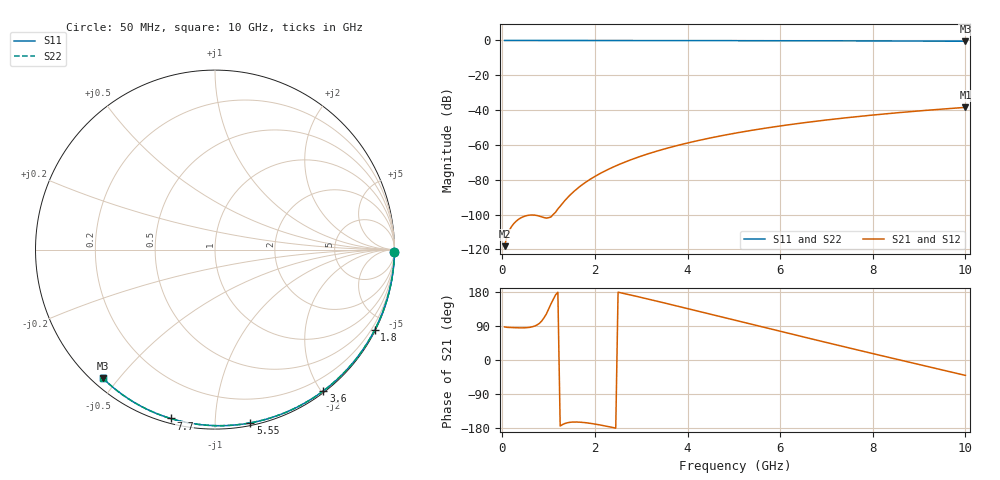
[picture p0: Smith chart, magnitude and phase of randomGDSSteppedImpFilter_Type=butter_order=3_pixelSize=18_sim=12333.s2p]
! freq	dB(S11)	phase(S11)	dB(S12)	phase(S12)
!  dB(S21)	phase(S21)	dB(S22)	phase(S22)
!S-par simulation data
#  GHz  S  DB  R 50
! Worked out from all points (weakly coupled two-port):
!   200 points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, 50 MHz to 10 GHz, reference 50 ohm
!   highest |S21| = -38.46 dB at 10 GHz (marker M1); lowest = -118.2 dB at 50 MHz (marker M2)
!   lowest |S11| = -0.4 dB at 10 GHz (marker M3), VSWR 39.18, Z = 1.54 - j22.7 ohm
!   |S11| at or under -10 dB: nowhere
!   |S22| runs from -0.4 to 0.0 dB; largest |S21 - S12| = 0
!   S11 on the Smith chart (normalised r, x): 50 MHz: open; 1.8 GHz: 0.04, -4.19; 3.6 GHz: 0.02, -2.03; 5.55 GHz: 0.02, -1.23; 7.7 GHz: 0.02, -0.77; 10 GHz: 0.03, -0.45
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0.05  -0.00 -0.8  -118.20 87.3  -118.20 87.3  -0.00 -0.8
0.9  -0.02 -13.6  -101.77 111.2  -101.77 111.2  -0.02 -13.6
1.75  -0.03 -26.1  -82.41 -164.8  -82.41 -164.8  -0.03 -26.1
1.8  -0.03 -26.9  -81.47 -165.5  -81.47 -165.5  -0.03 -26.9
1.85  -0.04 -27.6  -80.58 -166.3  -80.58 -166.3  -0.04 -27.6
1.9  -0.04 -28.3  -79.73 -167.1  -79.73 -167.1  -0.04 -28.3
2.05  -0.04 -30.5  -77.35 -170.1  -77.35 -170.1  -0.04 -30.5
2.25  -0.04 -33.4  -74.55 -174.7  -74.55 -174.7  -0.04 -33.4
2.45  -0.05 -36.3  -72.07 -179.8  -72.07 -179.8  -0.05 -36.3
2.65  -0.05 -39.2  -69.85 174.9  -69.85 174.9  -0.05 -39.2
3  -0.06 -44.1  -66.44 165.1  -66.44 165.1  -0.06 -44.1
3.4  -0.07 -49.7  -63.10 153.5  -63.10 153.5  -0.07 -49.7
3.6  -0.07 -52.5  -61.61 147.6  -61.61 147.6  -0.07 -52.5
4.3  -0.09 -62.1  -57.10 126.7  -57.10 126.7  -0.09 -62.1
5.05  -0.11 -72.0  -53.17 104.2  -53.17 104.2  -0.11 -72.0
5.55  -0.13 -78.4  -50.93 89.2  -50.93 89.2  -0.13 -78.4
6.1  -0.15 -85.4  -48.76 72.8  -48.76 72.8  -0.15 -85.4
6.7  -0.18 -92.8  -46.65 55.0  -46.65 55.0  -0.18 -92.8
7.7  -0.24 -104.8  -43.66 25.6  -43.66 25.6  -0.24 -104.8
8.35  -0.29 -112.3  -41.98 6.8  -41.98 6.8  -0.29 -112.3
9.15  -0.36 -121.5  -40.16 -16.2  -40.16 -16.2  -0.36 -121.5
10  -0.44 -131.0  -38.46 -40.6  -38.46 -40.6  -0.44 -131.0
